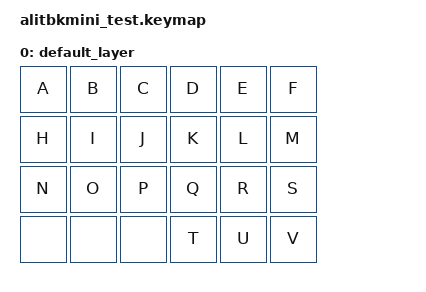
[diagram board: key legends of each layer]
#include <behaviors.dtsi>
#include <dt-bindings/zmk/keys.h>

/ {
    keymap {
        compatible = "zmk,keymap";

        default_layer {
            bindings = <
                &kp A &kp B &kp C &kp D &kp E &kp F
                &kp H &kp I &kp J &kp K &kp L &kp M
                &kp N &kp O &kp P &kp Q &kp R &kp S
                &none &none &none &kp T &kp U &kp V
            >;
        };
    };
};
